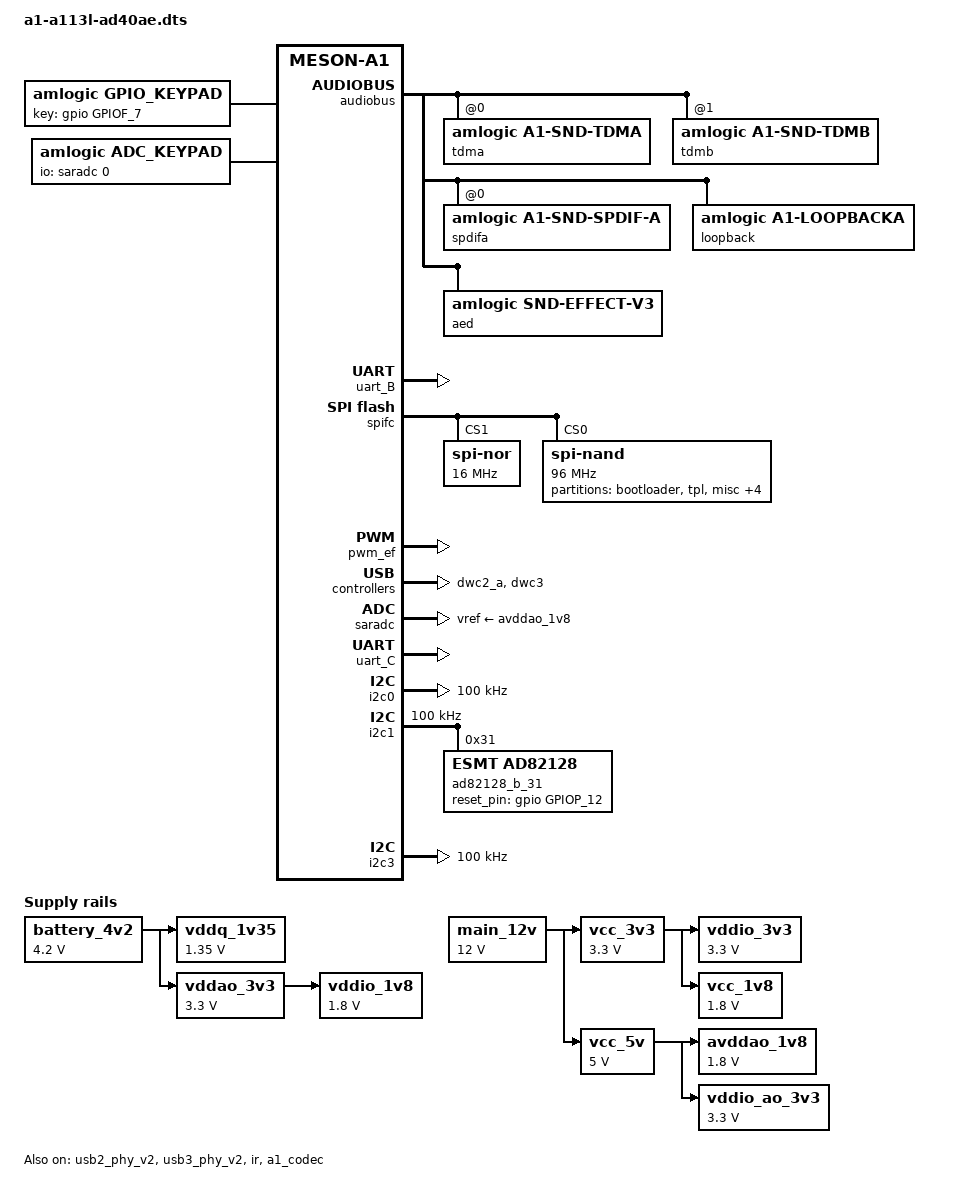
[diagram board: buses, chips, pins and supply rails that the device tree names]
// SPDX-License-Identifier: (GPL-2.0+ OR MIT)
/*
 * Copyright (c) 2019 Amlogic, Inc. All rights reserved.
 */

/dts-v1/;

#include "meson-a1.dtsi"

/ {
	amlogic-dt-id = "a1-a113l_ad40ae";
	compatible = "a1-a113l-ad40ae";

	aliases {
		serial0 = &uart_B;
		serial1 = &uart_A;
		serial2 = &uart_C;
		i2c0 = &i2c0;
		i2c1 = &i2c1;
		i2c2 = &i2c2;
		i2c3 = &i2c3;
		spi0 = &spifc;
		spi1 = &spicc0;
		tsensor0 = &tsensor;
	};
	chosen {
		stdout-path = "serial0:115200n8";
	};
	memory@0 {
		device_type = "memory";
		linux,usable-memory = <0x0 0x0 0x0 0x8000000>;
	};

	reserved-memory {
		#address-cells = <2>;
		#size-cells = <2>;
		ranges;

		dmc_reserved:linux,dmc_monitor {
			compatible = "amlogic,dmc_monitor-reserved";
			reg = <0x0 0x0 0x0 0x0>;
		};

		dsp_fw_reserved0:linux,dsp_fw0 {
			compatible = "amlogic, dsp";
			size = <0x0 0x1000000>;
			reg = <0x0 0x2800000 0x0 0x1000000>;
		};

		dsp_fw_reserved1:linux,dsp_fw1 {
			status = "disabled";
			compatible = "amlogic, dsp";
			size = <0x0 0x400000>;
			reg = <0x0 0x3800000 0x0 0x400000>;
		};

		secos_reserved:linux,secos {
			status = "okay";
			compatible = "amlogic, aml_secos_memory";
			reg = <0x0 0x03d00000 0x0 0x00300000>;
			no-map;
		};

		/* global autoconfigured region for contiguous allocations */
		linux,cma {
			compatible = "shared-dma-pool";
			reusable;
			size = <0x800000>;
			alignment = <0x400000>;
			linux,cma-default;
		};
	};

	battery_4v2: regulator-battery_4v2 {
		compatible = "regulator-fixed";
		regulator-name = "4V2";
		regulator-min-microvolt = <4200000>;
		regulator-max-microvolt = <4200000>;
		regulator-always-on;
	};

	vddq_1v35: regulator-vddq_1v35 {
		compatible = "regulator-fixed";
		regulator-name = "VDDQ_1V35";
		regulator-min-microvolt = <1350000>;
		regulator-max-microvolt = <1350000>;
		vin-supply = <&battery_4v2>;
		regulator-always-on;
	};

	vddao_3v3: regulator-vddao_3v3 {
		compatible = "regulator-fixed";
		regulator-name = "VDDAO_3V3";
		regulator-min-microvolt = <3300000>;
		regulator-max-microvolt = <3300000>;
		vin-supply = <&battery_4v2>;
		regulator-always-on;
	};

	vcc_3v3: regulator-vcc_3v3 {
		compatible = "regulator-fixed";
		regulator-name = "VCC_3V3";
		regulator-min-microvolt = <3300000>;
		regulator-max-microvolt = <3300000>;
		vin-supply = <&vddao_3v3>;
		regulator-always-on;
	};

	vddio_1v8: regulator-vddio_1v8 {
		compatible = "regulator-fixed";
		regulator-name = "VDDIO_1V8";
		regulator-min-microvolt = <1800000>;
		regulator-max-microvolt = <1800000>;
		vin-supply = <&vddao_3v3>;
		regulator-always-on;
	};

	main_12v: regulator-main_12v {
		compatible = "regulator-fixed";
		regulator-name = "12V";
		regulator-min-microvolt = <12000000>;
		regulator-max-microvolt = <12000000>;
		regulator-always-on;
	};

	vcc_3v3: regulator-vcc_3v3 {
		compatible = "regulator-fixed";
		regulator-name = "VCC_3V3";
		regulator-min-microvolt = <3300000>;
		regulator-max-microvolt = <3300000>;
		vin-supply = <&main_12v>;
		regulator-always-on;
	};

	vddio_3v3: regulator-vddio_3v3 {
		compatible = "regulator-fixed";
		regulator-name = "VDDIO_3V3";
		regulator-min-microvolt = <3300000>;
		regulator-max-microvolt = <3300000>;
		vin-supply = <&vcc_3v3>;
		regulator-always-on;
	};

	vcc_1v8: regulator-vcc_1v8 {
		compatible = "regulator-fixed";
		regulator-name = "VCC_1V8";
		regulator-min-microvolt = <1800000>;
		regulator-max-microvolt = <1800000>;
		vin-supply = <&vcc_3v3>;
		regulator-always-on;
	};

	vcc_5v: regulator-vcc_5v {
		compatible = "regulator-fixed";
		regulator-name = "VCC_5V";
		regulator-min-microvolt = <5000000>;
		regulator-max-microvolt = <5000000>;
		vin-supply = <&main_12v>;
		regulator-always-on;
	};

	avddao_1v8: regulator-avddao_1v8 {
		compatible = "regulator-fixed";
		regulator-name = "AVDDAO_1V8";
		regulator-min-microvolt = <1800000>;
		regulator-max-microvolt = <1800000>;
		vin-supply = <&vcc_5v>;
		regulator-always-on;
	};

	vddio_ao_3v3: regulator-vddio_ao_3v3 {
		compatible = "regulator-fixed";
		regulator-name = "VDDIO_AO_3V3";
		regulator-min-microvolt = <3300000>;
		regulator-max-microvolt = <3300000>;
		vin-supply = <&vcc_5v>;
		regulator-always-on;
	};

	/* Audio Related start */
	dummy_codec:dummy_codec{
		#sound-dai-cells = <0>;
		compatible = "amlogic, aml_dummy_codec";
		status = "okay";
	};

	a1_codec:a1_codec {
		#sound-dai-cells = <0>;
		compatible = "amlogic, a1_acodec";
		status = "okay";
		reg = <0x0 0xFE004800 0x0 0x20>;
		tdmout_index = <1>;
		tdmin_index = <1>;
		dat0_ch_sel = <0>;
		/*audio output mode
		 *0:single end output
		 *1:differential output
		 */
		dacr_output_inv = <0>;
		power-domains = <&pwrdm PDID_ACODEC>;
	};

	auge_sound {
		compatible = "amlogic, auge-sound-card";
		aml-audio-card,name = "AML-AUGESOUND";
		//aml-audio-card,hp-det-gpio = <&gpio GPIOP_6 GPIO_ACTIVE_LOW>;
		/*avout mute gpio*/
		// avout_mute-gpios = <&gpio GPIOF_4 GPIO_ACTIVE_LOW>;

		aml-audio-card,dai-link@0 {
			format = "dsp_a";
			mclk-fs = <512>;
			//continuous-clock;
			//bitclock-inversion;
			//frame-inversion;
			/* master mode */
			bitclock-master = <&tdma>;
			frame-master = <&tdma>;
			/* slave mode */
			/*
			 * bitclock-master = <&tdmacodec>;
			 * frame-master = <&tdmacodec>;
			 */
			suffix-name = "alsaPORT-pcm";
			tdmacpu: cpu {
				sound-dai = <&tdma>;
				dai-tdm-slot-tx-mask =
							<1>;
				dai-tdm-slot-rx-mask =
							<1>;
				dai-tdm-slot-num = <2>;
				dai-tdm-slot-width = <16>;
				system-clock-frequency = <256000>;
			};
			tdmacodec: codec {
				sound-dai = <&dummy_codec>;
			};
		};

		aml-audio-card,dai-link@1 {
			format = "i2s";// "dsp_a";
			mclk-fs = <256>;
			//continuous-clock;
			//bitclock-inversion;
			//frame-inversion;
			/* master mode */
			bitclock-master = <&tdmb>;
			frame-master = <&tdmb>;
			/* slave mode */
			//bitclock-master = <&tdmbcodec>;
			//frame-master = <&tdmbcodec>;
			/* suffix-name, sync with android audio hal
			 * what's the dai link used for
			 */
			suffix-name = "alsaPORT-i2s";
			cpu {
				sound-dai = <&tdmb>;
				dai-tdm-slot-tx-mask = <1 1>;
				dai-tdm-slot-rx-mask = <1 1>;
				dai-tdm-slot-num = <2>;
				dai-tdm-slot-width = <32>;
				system-clock-frequency = <614400000>;
			};
			tdmbcodec: codec {
				prefix-names = "a1_codec","ad82128_b_31";
				sound-dai = <
						&a1_codec
						&ad82128_b_31
				>;
			};
		};
#if 0
		aml-audio-card,dai-link@2 {
			mclk-fs = <64>;
			/* suffix-name, sync with android audio hal
			 * what's the dai link used for
			 */
			suffix-name = "alsaPORT-pdm";
			cpu {
				sound-dai = <&pdm>;
			};
			codec {
				sound-dai = <&dummy_codec>;
			};
		};
#endif
		aml-audio-card,dai-link@3 {
			mclk-fs = <128>;
			/* suffix-name, sync with android audio hal used for */
			suffix-name = "alsaPORT-spdif";
			cpu {
				sound-dai = <&spdifa>;
				system-clock-frequency = <6144000>;
			};
			codec {
				sound-dai = <&dummy_codec>;
			};
		};

		aml-audio-card,dai-link@4 {
			mclk-fs = <256>;
			continuous-clock;
			format = "i2s";
			bitclock-master = <&loopback>;
			frame-master = <&loopback>;
			suffix-name = "alsaPORT-loopback";
			cpu {
				sound-dai = <&loopback>;
				system-clock-frequency = <12288000>;
			};
			codec {
				sound-dai = <&dummy_codec>;
			};
		};
	};
	audiolocker: locker {
		compatible = "amlogic, audiolocker";
		clocks = <&clkaudio CLKID_AUDIO_LOCKER_OUT
				&clkaudio CLKID_AUDIO_LOCKER_IN
				&clkaudio CLKID_AUDIO_MCLK_C
				&clkaudio CLKID_AUDIO_MCLK_D
				&clkc CLKID_FCLK_DIV2
				&clkc CLKID_FCLK_DIV3>;
		clock-names = "lock_out", "lock_in", "out_src",
					"in_src", "out_calc", "in_ref";
		interrupts = <GIC_SPI 42 IRQ_TYPE_EDGE_RISING>;
		interrupt-names = "irq";
		frequency = <49000000>; /* pll */
		dividor = <49>; /* locker's parent */
		power-domains = <&pwrdm PDID_AUDIO>;
		status = "okay";
	};
	/* Audio Related end */
	gpio_keypad{
		compatible = "amlogic, gpio_keypad";
		status = "okay";
		scan_period = <20>;
		key_num = <1>;
		key_name = "power";
		key_code = <KEY_POWER>;
		key-gpios = <&gpio GPIOF_7 GPIO_ACTIVE_HIGH>;
		detect_mode = <1>;/*0:polling mode, 1:irq mode*/
	};

	adc_keypad {
		compatible = "amlogic, adc_keypad";
		status = "okay";
		key_name = "vol+", "vol-", "bt", "mode";
		key_num = <4>;
		io-channels = <&saradc 0>;
		io-channel-names = "key-chan-0";
		key_chan = <0 0 0 0>;
		key_code = <KEY_VOLUMEDOWN KEY_VOLUMEUP KEY_BLUETOOTH KEY_MODE>;
		key_val = <390 267 141 0>;
		key_tolerance = <40 40 40 40>;
	};
};

/* Audio Related start */
&audiobus {
	tdma: tdm@0 {
		compatible = "amlogic, a1-snd-tdma";
		#sound-dai-cells = <0>;
		dai-tdm-lane-slot-mask-in = <0 1>;
		dai-tdm-lane-slot-mask-out = <1 0>;
		dai-tdm-clk-sel = <0>;
		clocks = <&clkaudio CLKID_AUDIO_MCLK_A
				&clkc CLKID_FCLK_DIV3>;
		clock-names = "mclk", "clk_srcpll";
		pinctrl-names = "tdm_pins";
		pinctrl-0 = <&tdmout_a &tdmin_a>;
		power-domains = <&pwrdm PDID_AUDIO>;

		status = "okay";
	};

	tdmb: tdm@1 {
		compatible = "amlogic, a1-snd-tdmb";
		#sound-dai-cells = <0>;
		dai-tdm-lane-slot-mask-in = <1 0 0 0>;
		dai-tdm-lane-slot-mask-out = <1 0 0 0>;
		/* dai-tdm-lane-oe-slot-mask-in = <0 1>; */
		dai-tdm-clk-sel = <1>;
		clocks = <&clkaudio CLKID_AUDIO_MCLK_B
				&clkaudio CLKID_AUDIO_MCLK_PAD0
				&clkc CLKID_FCLK_DIV3>;
		clock-names = "mclk", "mclk_pad", "clk_srcpll";
		pinctrl-names = "tdm_pins";
		pinctrl-0 = <&tdmb_mclk &tdmout_b &tdm_clk_pins>;

		mclk_pad = <0>;  /* 0: mclk_0; 1: mclk_1 */

		/* tdmin data comes from ACODEC adc */
		tdmin-src-name = "acodec_adc";

		/*
		 * 0: tdmout_a;
		 * 1: tdmout_b;
		 * 2: tdmout_c;
		 * 3: spdifout;
		 * 4: spdifout_b;
		 */
		//samesource_sel = <3>;
		start_clk_enable = <1>;
		power-domains = <&pwrdm PDID_AUDIO>;

		src-clk-freq = <614400000>;

		status = "okay";
	};

	spdifa: spdif@0 {
		compatible = "amlogic, a1-snd-spdif-a";
		#sound-dai-cells = <0>;
		clocks = <&clkc CLKID_FCLK_DIV3
				&clkaudio CLKID_AUDIO_GATE_SPDIFIN
				&clkaudio CLKID_AUDIO_SPDIFIN>;
		clock-names = "fixed_clk", "gate_spdifin", "clk_spdifin";
		interrupts =
				<GIC_SPI 39 IRQ_TYPE_EDGE_RISING>;

		interrupt-names = "irq_spdifin";
		pinctrl-names = "spdif_pins";
		pinctrl-0 = <&spdifin>;
		power-domains = <&pwrdm PDID_AUDIO>;

		status = "okay";
	};

	pdm: pdm {
		compatible = "amlogic, a1-snd-pdm";
		#sound-dai-cells = <0>;

		clocks = <&clkaudio CLKID_AUDIO2_GATE_PDM
			&clkc CLKID_FCLK_DIV2
			&clkc CLKID_FCLK_DIV2
			&clkaudio CLKID_AUDIO2_PDM_DCLK
			&clkaudio CLKID_AUDIO2_PDM_SYSCLK>;
		clock-names = "gate",
			"sysclk_srcpll",
			"dclk_srcpll",
			"pdm_dclk",
			"pdm_sysclk";

		pinctrl-names = "pdm_pins";
		pinctrl-0 = <&pdmin>;

		/* mode 0~4, defalut:1 */
		filter_mode = <1>;
		sys-src-clk-freq = <614400000>;
		/*power-domains = <&pwrdm PDID_PDM>;*/

		status = "disabled";
	};

	asrca: resample@0 {
		compatible = "amlogic, a1-resample-a";
		clocks = <&clkc CLKID_FCLK_DIV3
			&clkaudio CLKID_AUDIO_MCLK_C
			&clkaudio CLKID_AUDIO_RESAMPLEA>;
		clock-names = "resample_pll", "resample_src", "resample_clk";

		/*same with toddr_src
		 *	TDMIN_A,    0
		 *	TDMIN_B,    1
		 *	TDMIN_C,    2
		 *	SPDIFIN,    3
		 *	PDMIN,      4
		 *	FRATV,      5
		 *	TDMIN_LB,   6
		 *	LOOPBACK_A, 7
		 *	FRHDMIRX,   8
		 *	LOOPBACK_B, 9
		 *	SPDIFIN_LB, 10
		 *	EARC_RX,    11
		 */
		resample_module = <3>;

		/* only can enable one new resample
		 * as only have one new resample HW
		 */
		status = "disabled";
	};

	asrcb: resample@1 {
		compatible = "amlogic, a1-resample-b";
		clocks = <&clkc CLKID_FCLK_DIV3
			&clkaudio CLKID_AUDIO_MCLK_D
			&clkaudio CLKID_AUDIO_RESAMPLEA>;
		clock-names = "resample_pll", "resample_src", "resample_clk";

		/*this resample is only used for loopback_A.*/
		/*only support 16000 or 48000Hz for capture*/
		capture_sample_rate = <16000>;

		/* hifi pll rate */
		src-clk-freq = <614400000>;

		status = "disabled";
	};

	vad:vad {
		compatible = "amlogic, snd-vad-top";
		#sound-dai-cells = <0>;

		clocks = <&clkaudio CLKID_AUDIO2_GATE_TOVAD
			/* &clkc CLKID_FCLK_DIV2 */
			&xtal
			&clkaudio CLKID_AUDIO2_VAD_CLK>;
		clock-names = "gate", "pll", "clk";

		interrupts = <GIC_SPI 117 IRQ_TYPE_EDGE_RISING
				GIC_SPI 118 IRQ_TYPE_EDGE_RISING>;
		interrupt-names = "irq_wakeup", "irq_frame_sync";

		/*
		 * Data src sel:
		 * 2: tdmin_c, actually tdmin_vad
		 * 4: pdmin
		 */
		src = <4>;

		/*
		 * deal with hot word in user space or kernel space
		 * 0: in user space
		 * 1: in kernel space
		 */
		level = <1>;

		status = "disabled";
	};

	loopback: loopback {
		compatible = "amlogic, a1-loopbacka";
		#sound-dai-cells = <0>;

		original-src = <&tdmb>;
		//tdmin_lb-src = <&tdmin_lb>;

		clocks = <&clkaudio CLKID_AUDIO2_GATE_PDM
			&clkc CLKID_FCLK_DIV2
			&clkc CLKID_FCLK_DIV2
			&clkaudio CLKID_AUDIO2_PDM_DCLK
			&clkaudio CLKID_AUDIO2_PDM_SYSCLK
			&clkc CLKID_FCLK_DIV3
			&clkaudio CLKID_AUDIO_MCLK_C>;
		clock-names = "pdm_gate",
			"pdm_sysclk_srcpll",
			"pdm_dclk_srcpll",
			"pdm_dclk",
			"pdm_sysclk",
			"tdminlb_mpll",
			"tdminlb_mclk";

		/* datain src
		 * 0: tdmin_a;
		 * 1: tdmin_b;
		 * 2: tdmin_c;
		 * 3: spdifin;
		 * 4: pdmin;
		 */
		datain_src = <4>;
		datain_chnum = <2>;
		datain_chmask = <0x3>;
		/* config which data pin for loopback */
		datain-lane-mask-in = <1 0 0 0>;

		sys-src-clk-freq = <614400000>;

		/* calc mclk for datalb */
		mclk-fs = <256>;

		/* tdmin_lb src
		 * 0: tdmoutA
		 * 1: tdmoutB
		 * 2: tdmoutC
		 * 3: PAD_TDMINA_DIN*, refer to core pinmux
		 * 4: PAD_TDMINB_DIN*, refer to core pinmux
		 * 5: PAD_TDMINC_DIN*, refer to core pinmux
		 * 6: PAD_TDMINA_D*, oe, refer to core pinmux
		 * 7: PAD_TDMINB_D*, oe, refer to core pinmux
		 */
		/* if tdmin_lb >= 3, use external loopback */
		datalb_src = <1>;
		datalb_chnum = <2>;
		datalb_chmask = <0x3>;
		/* config which data pin as loopback */
		datalb-lane-mask-in = <1 0 0 0>;
		power-domains = <&pwrdm PDID_AUDIO>;

		status = "okay";
	};

	aed:effect {
		compatible = "amlogic, snd-effect-v3";
		#sound-dai-cells = <0>;
		clocks = <&clkaudio CLKID_AUDIO_GATE_EQDRC
			&clkc CLKID_FCLK_DIV3
			&clkaudio CLKID_AUDIO_EQDRC>;
		clock-names = "gate", "srcpll", "eqdrc";
		/*
		 * 0:tdmout_a
		 * 1:tdmout_b
		 * 2:tdmout_c
		 * 3:spdifout
		 * 4:spdifout_b
		 */
		eqdrc_module = <1>;
		/* max 0xf, each bit for one lane, usually one lane */
		lane_mask = <0x1>;
		/* max 0xff, each bit for one channel */
		channel_mask = <0x3>;
		power-domains = <&pwrdm PDID_AUDIO>;
		status = "okay";
	};
}; /* end of audiobus */
/* Audio Related end */

&pinctrl_audio {
	tdm_clk_pins: tdm_clk_pins{
		mux {
			groups = "tdm_sclk1", "tdm_lrclk1";
			function = "tdm_clk_outb";
		};
	};
};

&pinctrl_periphs {
	/* Audio Related start */
	tdmout_a: tdmout_a {
		mux { /* GPIOX_10, GPIOX_9, GPIOX_8 */
			groups = "tdm_a_sclk",
				"tdm_a_fs",
				"tdm_a_dout0";
			function = "tdm_a";
		};
	};

	tdmin_a: tdmin_a {
		mux { /* GPIOX_7 */
			groups = "tdm_a_din1";
			function = "tdm_a";
		};
	};

	tdmb_mclk: tdmb_mclk {
		mux {
			groups = "mclk_0";
			function = "mclk_0";
			drive-strength = <2>;
		};
	};

	tdmout_b: tdmout_b {
		mux { /* GPIOA_1, GPIOA_2, GPIOA_3 */
			groups = "tdm_b_sclk",
				"tdm_b_fs",
				"tdm_b_dout0";
			function = "tdm_b";
			drive-strength = <2>;
		};
	};

	tdmin_b:tdmin_b {
		mux { /* GPIOA_7 */
			groups = "tdm_b_din0";
			function = "tdm_b";
			drive-strength = <2>;
		};
	};

	spdifin: spdifin {
		mux {/* GPIOF_6 */
			groups = "spdif_in_f6";
			function = "spdif_in";
		};
	};

	pdmin: pdmin {
		mux { /* GPIOA_7, GPIOA_8, GPIOA_9 */
			groups =
				"pdm_din1_a",
				"pdm_din0_a",
				"pdm_dclk";
			function = "pdm";
		};
	};

	/* Audio Related end */

}; /* end of pinctrl_periphs */

&uart_B {
	status = "okay";
};

&spifc {
	status = "okay";
	pinctrl-names = "default";
	pinctrl-0 = <&spifc_pins>;
	spi-nor@1 {
		reg = <1>;
		compatible = "jedec,spi-nor";
		spi-max-frequency = <16000000>;
	};
	spi-nand@0 {
		compatible = "spi-nand";
		status = "okay";
		reg = <0>;
		spi-max-frequency = <96000000>;
		spi-tx-bus-width = <4>;
		spi-rx-bus-width = <4>;
		env_size = <8192>;
		bl_mode = <1>;
		fip_copies = <4>;
		fip_size = <0x200000>;
		partition = <&partitions>;
		partitions: partitions{
			bootloader{
				offset=<0x0 0x0>;
				size=<0x0 0x0>;
			};
			tpl{
				offset=<0x0 0x0>;
				size=<0x0 0x0>;
			};
			misc{
				offset=<0x0 0x0>;
				size=<0x0 0x40000>;
			};
			recovery{
				offset=<0x0 0x0>;
				size=<0x0 0x1000000>;
			};
			boot{
				offset=<0x0 0x0>;
				size=<0x0 0xc00000>;
			};
			system{
				offset=<0x0 0x0>;
				size=<0x0 0x3800000>;
			};
			data{
				offset=<0xffffffff 0xffffffff>;
				size=<0x0 0x0>;
			};
		};
	};
};

&cpu0 {
	cpu-supply = <&vddcpu0>;
};

&cpu1 {
	cpu-supply = <&vddcpu0>;
};

&pwm_ef {
	status = "okay";
};

&meson_suspend {
	status = "okay";
};

&vddcpu0 {
	pinctrl-names = "default";
	pinctrl-0 = <&pwm_f_pins4>;
	pwms = <&pwm_ef MESON_PWM_1 1500 0>;
	status = "okay";
};

&dwc2_a {
	status = "okay";
	/** 0: normal, 1: otg+dwc3 host only, 2: otg+dwc3 device only*/
	controller-type = <1>;
};

&dwc3 {
	status = "okay";
};

&usb2_phy_v2 {
	status = "okay";
	portnum = <1>;
};

&usb3_phy_v2 {
	status = "okay";
	portnum = <0>;
	otg = <0>;
};

&aml_bt {
	status = "disabled";
	//hostwake-gpios = <&gpio       GPIOP_0       GPIO_ACTIVE_HIGH>;

};

&wifi_pwm_conf {
	pwm_channel1_conf {
		pwms = <&pwm_ef MESON_PWM_0 30541 0>;
		duty-cycle = <15270>;
		times = <10>;
	};
	pwm_channel2_conf {
		pwms = <&pwm_ef MESON_PWM_2 30500 0>;
		duty-cycle = <15250>;
		times = <12>;
	};
};

&aml_wifi {
	status = "disabled";
	//interrupt-gpios = <&gpio       GPIOP_1       GPIO_ACTIVE_HIGH>;
	//pinctrl-0 = <&pwm_e_pins1>;
};

&sd_emmc_a {
	status = "disabled";
	pinctrl-0 = <&sdio_pins>;
	pinctrl-1 = <&sdio_clk_gate_pins>;
	pinctrl-names = "default", "clk-gate";
	bus-width = <4>;
	cap-sd-highspeed;
//	sd-uhs-sdr12;
//	sd-uhs-sdr25;
//	sd-uhs-sdr50;
//	sd-uhs-sdr104;
	non-removable;
	max-frequency = <200000000>;
	disable-wp;
	cap-sdio-irq;
	keep-power-in-suspend;
	card_type = <3>;

	vmmc-supply = <&vcc_3v3>;
	vqmmc-supply = <&vcc_1v8>;
};

&saradc {
	status = "okay";
	vref-supply = <&avddao_1v8>;
};

&spicc0 {
	status = "disabled";
	pinctrl-names = "default";
	pinctrl-0 = <&spicc0_pins_a>;
	cs-gpios = <&gpio GPIOA_8 0>;
};

&pwm_ab {
	status = "disabled";
};

&uart_C {
	status = "okay";
	pinctrl-0 = <&c_uart_pins2>;
};

&ir {
	status = "okay";
};

&i2c0 {
	status = "okay";
	pinctrl-names="default";
	pinctrl-0=<&i2c0_master_pins2>;
	clock-frequency = <100000>; /* default 100k */
};

&i2c1 {
	status = "okay";
	pinctrl-names="default";
	pinctrl-0=<&i2c1_master_pins2>;
	clock-frequency = <100000>; /* default 100k */
	ad82128_b_31: ad82128_b_31@31 {
		compatible = "ESMT,ad82128";
		#sound-dai-cells = <0>;
		reg = <0x31>;
		status = "okay";
		reset_pin = <&gpio GPIOP_12 GPIO_ACTIVE_HIGH>;
	};
};

&i2c3 {
	status = "okay";
	pinctrl-names="default";
	pinctrl-0=<&i2c3_master_pins2>;
	clock-frequency = <100000>; /* default 100k */
};

&custom_maps{
		mapnum = <4>;
		map0 = <&map_0>;
		map1 = <&map_1>;
		map2 = <&map_2>;
		map3 = <&map_3>;
		map_0: map_0{
			mapname = "amlogic-remote-1";
			customcode = <0xfb04>;
			release_delay = <80>;
			size  = <50>;   /*keymap size*/
			keymap = <REMOTE_KEY(0x47, KEY_0)
				REMOTE_KEY(0x13, KEY_1)
				REMOTE_KEY(0x10, KEY_2)
				REMOTE_KEY(0x11, KEY_3)
				REMOTE_KEY(0x0F, KEY_4)
				REMOTE_KEY(0x0C, KEY_5)
				REMOTE_KEY(0x0D, KEY_6)
				REMOTE_KEY(0x0B, KEY_7)
				REMOTE_KEY(0x08, KEY_8)
				REMOTE_KEY(0x09, KEY_9)
				REMOTE_KEY(0x5C, KEY_RIGHTCTRL)
				REMOTE_KEY(0x51, KEY_F3)
				REMOTE_KEY(0x50, KEY_F4)
				REMOTE_KEY(0x40, KEY_F5)
				REMOTE_KEY(0x4d, KEY_F6)
				REMOTE_KEY(0x43, KEY_F7)
				REMOTE_KEY(0x17, KEY_F8)
				REMOTE_KEY(0x00, KEY_F9)
				REMOTE_KEY(0x01, KEY_F10)
				REMOTE_KEY(0x16, KEY_F11)
				REMOTE_KEY(0x49, KEY_BACKSPACE)
				REMOTE_KEY(0x06, KEY_PROPS)
				REMOTE_KEY(0x14, KEY_UNDO)
				REMOTE_KEY(0x44, KEY_UP)
				REMOTE_KEY(0x1D, KEY_DOWN)
				REMOTE_KEY(0x1C, KEY_LEFT)
				REMOTE_KEY(0x48, KEY_RIGHT)
				REMOTE_KEY(0x53, KEY_LEFTMETA)
				REMOTE_KEY(0x45, KEY_PAGEUP)
				REMOTE_KEY(0x19, KEY_PAGEDOWN)
				REMOTE_KEY(0x52, KEY_PAUSE)
				REMOTE_KEY(0x05, KEY_HANGEUL)
				REMOTE_KEY(0x59, KEY_HANJA)
				REMOTE_KEY(0x1b, KEY_SCALE)
				REMOTE_KEY(0x04, KEY_KPCOMMA)
				REMOTE_KEY(0x1A, KEY_POWER)
				REMOTE_KEY(0x0A, KEY_TAB)
				REMOTE_KEY(0x0e, KEY_MUTE)
				REMOTE_KEY(0x1F, KEY_HOME)
				REMOTE_KEY(0x1e, KEY_FRONT)
				REMOTE_KEY(0x07, KEY_COPY)
				REMOTE_KEY(0x12, KEY_OPEN)
				REMOTE_KEY(0x54, KEY_PASTE)
				REMOTE_KEY(0x02, KEY_FIND)
				REMOTE_KEY(0x4f, KEY_A)
				REMOTE_KEY(0x42, KEY_B)
				REMOTE_KEY(0x5d, KEY_C)
				REMOTE_KEY(0x4c, KEY_D)
				REMOTE_KEY(0x58, KEY_CUT)
				REMOTE_KEY(0x55, KEY_CALC)>;
		};
		map_1: map_1{
			mapname = "amlogic-remote-2";
			customcode = <0xfe01>;
			release_delay = <80>;
			size  = <52>;
			keymap = <
				REMOTE_KEY(0x10, 200) /* power */
				REMOTE_KEY(0x1f, 201) /* eject-->input source */
				REMOTE_KEY(0x01, 202) /* usb */
				REMOTE_KEY(0x02, 203) /* bt */
				REMOTE_KEY(0x03, 204) /* aux */
				REMOTE_KEY(0x04, 205) /* scan-->hdmi arc */
				REMOTE_KEY(0x05, 206) /* spdif */
				REMOTE_KEY(0x06, 207) /* hdmi1 */
				REMOTE_KEY(0x07, 208) /* hdmi2 */
				REMOTE_KEY(0x17, 209) /* mute */
				REMOTE_KEY(0x0c, 210) /* vol+ */
				REMOTE_KEY(0x0d, 211) /* vol- */
				REMOTE_KEY(0x53, 212) /* DAP */
				REMOTE_KEY(0x52, 213) /* BM */
				REMOTE_KEY(0x49, 214) /* DRC */
				REMOTE_KEY(0x46, 215) /* POST */
				REMOTE_KEY(0x58, 216) /* UPMIX */
				REMOTE_KEY(0x5a, 217) /* VIRT */
				REMOTE_KEY(0x39, 218) /* VLAMP */
				REMOTE_KEY(0x40, 219) /* HFILT */
				REMOTE_KEY(0x42, 220) /* Loundness */
				REMOTE_KEY(0x1e, 221) /* VMCAL/cspread */
				REMOTE_KEY(0xb1, 222) /* CD */
				REMOTE_KEY(0xb4, 223) /* CD */
				REMOTE_KEY(0xb9, 224) /* CD */
				REMOTE_KEY(0x08, 225) /* loop */
				REMOTE_KEY(0x91, 226) /* CD */
				REMOTE_KEY(0x92, 227) /* CD */
				REMOTE_KEY(0x89, 228) /* CD */
				REMOTE_KEY(0x88, 229) /* CD */
				REMOTE_KEY(0x59, 230) /* Audio_info */
				REMOTE_KEY(0x84, 231) /* CD */
				REMOTE_KEY(0x1c, 232) /* DRC X+0.1 */
				REMOTE_KEY(0x1b, 233) /* DRC X-0.1 */
				REMOTE_KEY(0x19, 234) /* up/DRC Y+0.1 */
				REMOTE_KEY(0x1a, 235) /* down/DRC Y-0.1 */
				REMOTE_KEY(0xa0, 236) /* CD */
				REMOTE_KEY(0x0b, 237) /* Soft mute */
				REMOTE_KEY(0x0f, 238) /* soft vol- */
				REMOTE_KEY(0x0e, 239) /* soft vol+ */
				REMOTE_KEY(0x11, 240) /* Resume */
				REMOTE_KEY(0x57, 241) /* Pause */
				REMOTE_KEY(0x44, 242) /* LEGACY */
				REMOTE_KEY(0xa7, 243) /* CD */
				REMOTE_KEY(0x09, 244) /* random */
				REMOTE_KEY(0x00, 245) /* dtsx direct mode */
				REMOTE_KEY(0x0a, 246) /* dtsx drc  */
				REMOTE_KEY(0x5b, 247) /* dtsx imax  */
				REMOTE_KEY(0x13, 248) /* dtsx dialog gain  */
				REMOTE_KEY(0x41, 249) /* dtsx dialog norm  */
				REMOTE_KEY(0x43, 250) /* dtsx spkrout */
				REMOTE_KEY(0x15, 251) /* pcm surround effect */
				>;
		};
		map_2: map_2{
			mapname = "amlogic-remote-3";
			customcode = <0xbd02>;
			release_delay = <80>;
			size  = <17>;
			keymap = <REMOTE_KEY(0xca,103)
			REMOTE_KEY(0xd2,108)
			REMOTE_KEY(0x99,105)
			REMOTE_KEY(0xc1,106)
			REMOTE_KEY(0xce,97)
			REMOTE_KEY(0x45,116)
			REMOTE_KEY(0xc5,133)
			REMOTE_KEY(0x80,113)
			REMOTE_KEY(0xd0,15)
			REMOTE_KEY(0xd6,125)
			REMOTE_KEY(0x95,102)
			REMOTE_KEY(0xdd,104)
			REMOTE_KEY(0x8c,109)
			REMOTE_KEY(0x89,131)
			REMOTE_KEY(0x9c,130)
			REMOTE_KEY(0x9a,120)
			REMOTE_KEY(0xcd,121)>;
		};
		map_3: map_3{
			mapname = "amlogic-remote-3";
			customcode = <0xa4e8>; /* Reference Remote Control */
			release_delay = <80>;
			size  = <45>;
			keymap = <
				REMOTE_KEY(0xc7, 200) /* power */
				REMOTE_KEY(0x93, 201) /* eject-->input source */
				REMOTE_KEY(0xb2, 202) /* usb */
				REMOTE_KEY(0xb8, 203) /* bt */
				REMOTE_KEY(0xb7, 204) /* aux */
				REMOTE_KEY(0x8a, 205) /* scan-->hdmi arc */
				REMOTE_KEY(0x96, 206) /* spdif */
				REMOTE_KEY(0x90, 207) /* hdmi1 */
				REMOTE_KEY(0xa8, 208) /* hdmi2 */
				REMOTE_KEY(0x85, 209) /* mute */
				REMOTE_KEY(0x80, 210) /* vol+ */
				REMOTE_KEY(0x81, 211) /* vol- */
				REMOTE_KEY(0x61, 212) /* DAP */
				REMOTE_KEY(0x62, 213) /* BM */
				REMOTE_KEY(0x63, 214) /* DRC */
				REMOTE_KEY(0x64, 215) /* POST */
				REMOTE_KEY(0x65, 216) /* UPMIX */
				REMOTE_KEY(0x66, 217) /* VIRT */
				REMOTE_KEY(0x67, 218) /* VLAMP */
				REMOTE_KEY(0x68, 219) /* HFILT */
				REMOTE_KEY(0x69, 220) /* Loundness */
				REMOTE_KEY(0x60, 221) /* VMCAL/cspread */
				REMOTE_KEY(0xb1, 222) /* CD */
				REMOTE_KEY(0xb4, 223) /* CD */
				REMOTE_KEY(0xb9, 224) /* CD */
				REMOTE_KEY(0xab, 225) /* loop */
				REMOTE_KEY(0x91, 226) /* CD */
				REMOTE_KEY(0x92, 227) /* CD */
				REMOTE_KEY(0x89, 228) /* CD */
				REMOTE_KEY(0x88, 229) /* CD */
				REMOTE_KEY(0xa5, 230) /* Audio_info */
				REMOTE_KEY(0x84, 231) /* CD */
				REMOTE_KEY(0x72, 232) /* DRC X+0.1 */
				REMOTE_KEY(0x73, 233) /* DRC X-0.1 */
				REMOTE_KEY(0x9a, 234) /* up/DRC Y+0.1 */
				REMOTE_KEY(0x9b, 235) /* down/DRC Y-0.1 */
				REMOTE_KEY(0xa0, 236) /* CD */
				REMOTE_KEY(0x71, 237) /* Soft mute */
				REMOTE_KEY(0x74, 238) /* soft vol- */
				REMOTE_KEY(0x75, 239) /* soft vol+ */
				REMOTE_KEY(0x7e, 240) /* Resume */
				REMOTE_KEY(0x7f, 241) /* Pause */
				REMOTE_KEY(0x7a, 242) /* LEGACY */
				REMOTE_KEY(0xa7, 243) /* CD */
				REMOTE_KEY(0xa9, 244) /* random */
				>;
		};
};
